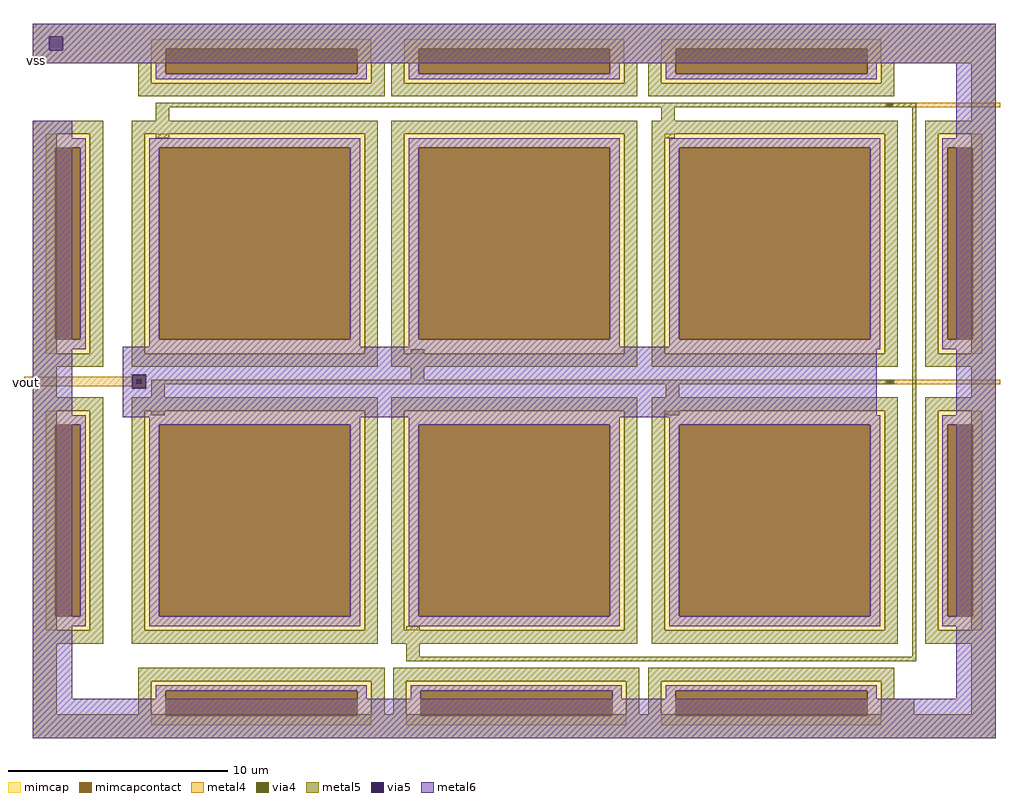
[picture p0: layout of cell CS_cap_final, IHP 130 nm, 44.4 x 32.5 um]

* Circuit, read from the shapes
.subckt CS_cap_final vout vss
XC1 vss vss cap_cmim w=2u l=10u m=4
XC2 vout cap_cmim_RCJHDK_1/C2 cap_cmim w=10u l=10u m=3
XC3 vout cap_cmim_RCJHDK_0/C2 cap_cmim w=10u l=10u m=3
XC4 vss vss cap_cmim w=10u l=2u m=6
.ends

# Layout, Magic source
magic
tech ihp-sg13g2
magscale 1 2
<< metal4 >>
rect 6800 2400 6820 2440
rect 6860 2400 7840 2440
rect -60 -50 70 -30
rect -1040 -75 70 -50
rect -1040 -115 -15 -75
rect 25 -115 70 -75
rect -1040 -140 70 -115
rect 6800 -120 6820 -80
rect 6860 -120 7840 -80
rect -60 -160 70 -140
<< via4 >>
rect 6820 2400 6860 2440
rect -15 -115 25 -75
rect 6820 -120 6860 -80
<< metal5 >>
rect -960 3042 7800 3160
rect -960 2918 -812 3042
rect -688 2918 7800 3042
rect -960 2800 7800 2918
rect 160 2400 6820 2440
rect 6860 2400 7080 2440
rect -960 -3120 -740 2280
rect 160 2120 280 2400
rect 4760 2120 4880 2400
rect -60 -33 70 -30
rect -60 -157 -57 -33
rect 67 -157 70 -33
rect 2480 -80 2600 200
rect -60 -160 70 -157
rect 120 -120 6820 -80
rect 6860 -120 6880 -80
rect 120 -400 240 -120
rect 4800 -400 4920 -120
rect 2440 -2600 2560 -2320
rect 7040 -2600 7080 2400
rect 2440 -2640 7080 -2600
rect 6860 -3120 7060 -2980
rect 7580 -3120 7800 2800
rect -960 -3340 7800 -3120
<< via5 >>
rect -812 2918 -688 3042
rect -57 -75 67 -33
rect -57 -115 -15 -75
rect -15 -115 25 -75
rect 25 -115 67 -75
rect -57 -157 67 -115
<< metal6 >>
rect -960 3042 7800 3160
rect -960 2918 -812 3042
rect -688 2918 7800 3042
rect -960 2800 7800 2918
rect -960 -2980 -600 2280
rect -140 -33 6720 220
rect -140 -157 -57 -33
rect 67 -157 6720 -33
rect -140 -420 6720 -157
rect 7440 -2980 7800 2800
rect -960 -3340 7800 -2980
use cap_cmim_MV9CWZ  cap_cmim_MV9CWZ_0
transform 1 0 1120 0 1 2820
box -1120 -320 1120 320
use cap_cmim_MV9CWZ  cap_cmim_MV9CWZ_1
transform 1 0 3420 0 1 2820
box -1120 -320 1120 320
use cap_cmim_MV9CWZ  cap_cmim_MV9CWZ_2
transform 1 0 5760 0 1 2820
box -1120 -320 1120 320
use cap_cmim_MV9CWZ  cap_cmim_MV9CWZ_3
transform 1 0 5760 0 1 -3020
box -1120 -320 1120 320
use cap_cmim_MV9CWZ  cap_cmim_MV9CWZ_4
transform 1 0 3440 0 1 -3020
box -1120 -320 1120 320
use cap_cmim_MV9CWZ  cap_cmim_MV9CWZ_5
transform 1 0 1120 0 1 -3020
box -1120 -320 1120 320
use cap_cmim_MV9CWZ  cap_cmim_MV9CWZ_6
transform 0 1 7480 -1 0 1160
box -1120 -320 1120 320
use cap_cmim_MV9CWZ  cap_cmim_MV9CWZ_7
transform 0 1 7480 -1 0 -1360
box -1120 -320 1120 320
use cap_cmim_MV9CWZ  cap_cmim_MV9CWZ_8
transform 0 1 -640 -1 0 -1360
box -1120 -320 1120 320
use cap_cmim_MV9CWZ  cap_cmim_MV9CWZ_9
transform 0 1 -640 -1 0 1160
box -1120 -320 1120 320
use cap_cmim_RCJHDK  cap_cmim_RCJHDK_0
transform 1 0 1060 0 1 1160
box -1120 -1120 1120 1120
use cap_cmim_RCJHDK  cap_cmim_RCJHDK_1
transform 1 0 3420 0 1 1160
box -1120 -1120 1120 1120
use cap_cmim_RCJHDK  cap_cmim_RCJHDK_2
transform 1 0 5790 0 1 1160
box -1120 -1120 1120 1120
use cap_cmim_RCJHDK  cap_cmim_RCJHDK_3
transform 1 0 1060 0 1 -1360
box -1120 -1120 1120 1120
use cap_cmim_RCJHDK  cap_cmim_RCJHDK_4
transform 1 0 3420 0 1 -1360
box -1120 -1120 1120 1120
use cap_cmim_RCJHDK  cap_cmim_RCJHDK_5
transform 1 0 5790 0 1 -1360
box -1120 -1120 1120 1120
<< labels >>
rlabel metal4 s -1040 -120 -1000 -80 4 vout
port 1 nsew
rlabel metal6 s -960 2800 -900 2860 4 vss
port 2 nsew
<< end >>

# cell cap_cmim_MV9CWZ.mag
magic
tech ihp-sg13g2
<< metal5 >>
rect -560 100 560 160
rect -560 -100 -500 100
rect 500 -100 560 100
rect -560 -160 560 -100
<< mimcap >>
rect -500 57 500 100
rect -500 -57 -435 57
rect 435 -57 500 57
rect -500 -100 500 -57
<< mimcapcontact >>
rect -435 -57 435 57
<< metal6 >>
rect -480 57 480 82
rect -480 -57 -435 57
rect 435 -57 480 57
rect -480 -82 480 -57
<< labels >>
rlabel metal6 s 0 0 0 0 4 C1
rlabel metal5 s 510 0 510 0 4 C2
<< properties >>
string FIXED_BBOX -560 -160 560 160
<< end >>

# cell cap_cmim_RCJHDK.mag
magic
tech ihp-sg13g2
<< metal5 >>
rect -560 500 560 560
rect -560 -500 -500 500
rect 500 -500 560 500
rect -560 -560 560 -500
<< mimcap >>
rect -500 435 500 500
rect -500 -435 -435 435
rect 435 -435 500 435
rect -500 -500 500 -435
<< mimcapcontact >>
rect -435 -435 435 435
<< metal6 >>
rect -480 435 480 480
rect -480 -435 -435 435
rect 435 -435 480 435
rect -480 -480 480 -435
<< labels >>
rlabel metal6 s 0 0 0 0 4 C1
rlabel metal5 s 510 0 510 0 4 C2
<< properties >>
string FIXED_BBOX -560 -560 560 560
<< end >>
